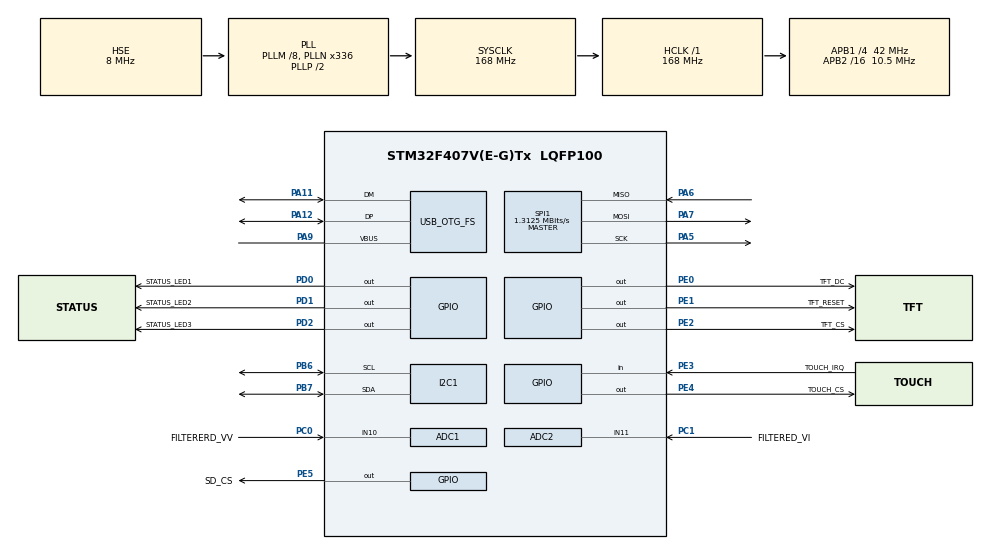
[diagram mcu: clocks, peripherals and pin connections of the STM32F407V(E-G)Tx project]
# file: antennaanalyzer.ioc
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ADC1.Channel-0\#ChannelRegularConversion=ADC_CHANNEL_10
ADC1.ClockPrescaler=ADC_CLOCK_SYNC_PCLK_DIV8
ADC1.ContinuousConvMode=ENABLE
ADC1.DMAContinuousRequests=ENABLE
ADC1.EOCSelection=ADC_EOC_SEQ_CONV
ADC1.Mode=ADC_DUALMODE_REGSIMULT
ADC1.NbrOfConversionFlag=1
ADC1.Rank-0\#ChannelRegularConversion=1
ADC1.SamplingTime-0\#ChannelRegularConversion=ADC_SAMPLETIME_3CYCLES
ADC1.ScanConvMode=ENABLE
ADC1.master=1
ADC2.Channel-0\#ChannelRegularConversion=ADC_CHANNEL_11
ADC2.ClockPrescaler=ADC_CLOCK_SYNC_PCLK_DIV8
ADC2.ContinuousConvMode=ENABLE
ADC2.DMAAccessMode=ADC_DMAACCESSMODE_2
ADC2.DMAContinuousRequests=ENABLE
ADC2.EOCSelection=ADC_EOC_SEQ_CONV
ADC2.Mode=ADC_DUALMODE_REGSIMULT
ADC2.NbrOfConversion=1
ADC2.NbrOfConversionFlag=1
ADC2.Rank-0\#ChannelRegularConversion=1
ADC2.SamplingTime-0\#ChannelRegularConversion=ADC_SAMPLETIME_3CYCLES
ADC2.ScanConvMode=ENABLE
Dma.ADC1.0.Direction=DMA_PERIPH_TO_MEMORY
Dma.ADC1.0.FIFOMode=DMA_FIFOMODE_DISABLE
Dma.ADC1.0.Instance=DMA2_Stream0
Dma.ADC1.0.MemDataAlignment=DMA_MDATAALIGN_WORD
Dma.ADC1.0.MemInc=DMA_MINC_ENABLE
Dma.ADC1.0.Mode=DMA_CIRCULAR
Dma.ADC1.0.PeriphDataAlignment=DMA_PDATAALIGN_WORD
Dma.ADC1.0.PeriphInc=DMA_PINC_DISABLE
Dma.ADC1.0.Priority=DMA_PRIORITY_LOW
Dma.Request0=ADC1
Mcu.Family=STM32F4
Mcu.Name=STM32F407V(E-G)Tx
Mcu.Package=LQFP100
NVIC.DMA2_Stream0_IRQn=true\:0\:0\:false\:false\:true\:false
NVIC.OTG_FS_IRQn=true\:0\:0\:false\:false\:true\:false
NVIC.PriorityGroup=NVIC_PRIORITYGROUP_4
PA11.Mode=Device_Only
PA11.Signal=USB_OTG_FS_DM
PA12.Mode=Device_Only
PA12.Signal=USB_OTG_FS_DP
PA5.Mode=Full_Duplex_Master
PA5.Signal=SPI1_SCK
PA6.Mode=Full_Duplex_Master
PA6.Signal=SPI1_MISO
PA7.Mode=Full_Duplex_Master
PA7.Signal=SPI1_MOSI
PA9.Mode=Activate_VBUS
PA9.Signal=USB_OTG_FS_VBUS
PB6.Mode=I2C
PB6.Signal=I2C1_SCL
PB7.Mode=I2C
PB7.Signal=I2C1_SDA
PC0.GPIO_Label=FILTERERD_VV
PC0.Signal=ADCx_IN10
PC1.GPIO_Label=FILTERED_VI
PC1.Signal=ADCx_IN11
PD0.GPIO_Label=STATUS_LED1
PD0.GPIO_ModeDefaultOutputPP=GPIO_MODE_OUTPUT_PP
PD0.GPIO_PuPd=GPIO_PULLUP
PD0.GPIO_Speed=GPIO_SPEED_FREQ_HIGH
PD0.PinState=GPIO_PIN_SET
PD0.Signal=GPIO_Output
PD1.GPIO_Label=STATUS_LED2
PD1.GPIO_PuPd=GPIO_PULLUP
PD1.GPIO_Speed=GPIO_SPEED_FREQ_HIGH
PD1.Signal=GPIO_Output
PD2.GPIO_Label=STATUS_LED3
PD2.GPIO_PuPd=GPIO_PULLUP
PD2.GPIO_Speed=GPIO_SPEED_FREQ_HIGH
PD2.PinState=GPIO_PIN_RESET
PD2.Signal=GPIO_Output
PE0.GPIO_Label=TFT_DC
PE0.GPIO_Speed=GPIO_SPEED_FREQ_VERY_HIGH
PE0.Signal=GPIO_Output
PE1.GPIO_Label=TFT_RESET
PE1.GPIO_Speed=GPIO_SPEED_FREQ_VERY_HIGH
PE1.Signal=GPIO_Output
PE2.GPIO_Label=TFT_CS
PE2.GPIO_Speed=GPIO_SPEED_FREQ_VERY_HIGH
PE2.Signal=GPIO_Output
PE3.GPIO_Label=TOUCH_IRQ
PE3.Signal=GPIO_Input
PE4.GPIO_Label=TOUCH_CS
PE4.GPIO_PuPd=GPIO_NOPULL
PE4.GPIO_Speed=GPIO_SPEED_FREQ_VERY_HIGH
PE4.Signal=GPIO_Output
PE5.GPIO_Label=SD_CS
PE5.GPIO_Speed=GPIO_SPEED_FREQ_VERY_HIGH
PE5.Signal=GPIO_Output
PH0-OSC_IN.Mode=HSE-External-Oscillator
PH0-OSC_IN.Signal=RCC_OSC_IN
PH1-OSC_OUT.Mode=HSE-External-Oscillator
PH1-OSC_OUT.Signal=RCC_OSC_OUT
ProjectManager.HeapSize=0x200
ProjectManager.StackSize=0x400
ProjectManager.TargetToolchain=Other Toolchains (GPDSC)
RCC.48MHZClocksFreq_Value=48000000
RCC.AHBFreq_Value=168000000
RCC.APB1CLKDivider=RCC_HCLK_DIV4
RCC.APB1Freq_Value=42000000
RCC.APB1TimFreq_Value=84000000
RCC.APB2CLKDivider=RCC_HCLK_DIV16
RCC.APB2Freq_Value=10500000
RCC.APB2TimFreq_Value=21000000
RCC.CortexFreq_Value=168000000
RCC.DATA_CACHE_ENABLE=1
RCC.HCLKFreq_Value=168000000
RCC.HSE_VALUE=8000000
RCC.HSI_VALUE=16000000
RCC.LSE_VALUE=32768
RCC.PLLM=8
RCC.PLLN=336
RCC.PLLQ=7
RCC.SYSCLKFreq_VALUE=168000000
RCC.SYSCLKSource=RCC_SYSCLKSOURCE_PLLCLK
RCC.VCOOutputFreq_Value=336000000
SH.ADCx_IN10.0=ADC1_IN10,IN10
SH.ADCx_IN11.0=ADC2_IN11,IN11
SPI1.BaudRatePrescaler=SPI_BAUDRATEPRESCALER_8
SPI1.CalculateBaudRate=1.3125 MBits/s
SPI1.Direction=SPI_DIRECTION_2LINES
SPI1.Mode=SPI_MODE_MASTER
SPI1.VirtualType=VM_MASTER
USB_DEVICE.CLASS_NAME_FS=CDC
USB_DEVICE.VirtualMode-CDC_FS=Cdc
USB_DEVICE.VirtualModeFS=Cdc_FS
USB_OTG_FS.VirtualMode=Device_Only
VP_CRC_VS_CRC.Mode=CRC_Activate
VP_USB_DEVICE_VS_USB_DEVICE_CDC_FS.Mode=CDC_FS
board=custom

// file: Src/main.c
/* USER CODE BEGIN Header */
/**
  ******************************************************************************
  * @file           : main.c
  * @brief          : Main program body
  ******************************************************************************
  * This notice applies to any and all portions of this file
  * that are not between comment pairs USER CODE BEGIN and
  * USER CODE END. Other portions of this file, whether
  * inserted by the user or by software development tools
  * are owned by their respective copyright owners.
  *
  * Copyright (c) 2018 STMicroelectronics International N.V.
  * All rights reserved.
  *
  * Redistribution and use in source and binary forms, with or without
  * modification, are permitted, provided that the following conditions are met:
  *
  * 1. Redistribution of source code must retain the above copyright notice,
  *    this list of conditions and the following disclaimer.
  * 2. Redistributions in binary form must reproduce the above copyright notice,
  *    this list of conditions and the following disclaimer in the documentation
  *    and/or other materials provided with the distribution.
  * 3. Neither the name of STMicroelectronics nor the names of other
  *    contributors to this software may be used to endorse or promote products
  *    derived from this software without specific written permission.
  * 4. This software, including modifications and/or derivative works of this
  *    software, must execute solely and exclusively on microcontroller or
  *    microprocessor devices manufactured by or for STMicroelectronics.
  * 5. Redistribution and use of this software other than as permitted under
  *    this license is void and will automatically terminate your rights under
  *    this license.
  *
  * THIS SOFTWARE IS PROVIDED BY STMICROELECTRONICS AND CONTRIBUTORS "AS IS"
  * AND ANY EXPRESS, IMPLIED OR STATUTORY WARRANTIES, INCLUDING, BUT NOT
  * LIMITED TO, THE IMPLIED WARRANTIES OF MERCHANTABILITY, FITNESS FOR A
  * PARTICULAR PURPOSE AND NON-INFRINGEMENT OF THIRD PARTY INTELLECTUAL PROPERTY
  * RIGHTS ARE DISCLAIMED TO THE FULLEST EXTENT PERMITTED BY LAW. IN NO EVENT
  * SHALL STMICROELECTRONICS OR CONTRIBUTORS BE LIABLE FOR ANY DIRECT, INDIRECT,
  * INCIDENTAL, SPECIAL, EXEMPLARY, OR CONSEQUENTIAL DAMAGES (INCLUDING, BUT NOT
  * LIMITED TO, PROCUREMENT OF SUBSTITUTE GOODS OR SERVICES; LOSS OF USE, DATA,
  * OR PROFITS; OR BUSINESS INTERRUPTION) HOWEVER CAUSED AND ON ANY THEORY OF
  * LIABILITY, WHETHER IN CONTRACT, STRICT LIABILITY, OR TORT (INCLUDING
  * NEGLIGENCE OR OTHERWISE) ARISING IN ANY WAY OUT OF THE USE OF THIS SOFTWARE,
  * EVEN IF ADVISED OF THE POSSIBILITY OF SUCH DAMAGE.
  *
  ******************************************************************************
  */
/* USER CODE END Header */

#include "main.h"
#include "usb_device.h"

/* USER CODE BEGIN PD */
int real_main();
/* USER CODE END PD */

ADC_HandleTypeDef hadc1;
ADC_HandleTypeDef hadc2;
DMA_HandleTypeDef hdma_adc1;

CRC_HandleTypeDef hcrc;

I2C_HandleTypeDef hi2c1;

SPI_HandleTypeDef hspi1;

void SystemClock_Config(void);
static void MX_GPIO_Init(void);
static void MX_DMA_Init(void);
static void MX_SPI1_Init(void);
static void MX_ADC1_Init(void);
static void MX_ADC2_Init(void);
static void MX_I2C1_Init(void);
static void MX_CRC_Init(void);

/* USER CODE BEGIN 0 */

void MX_SPI1_ReInit(uint32_t baudrate_prescalar)
{

  /* USER CODE BEGIN SPI1_Init 0 */

  /* USER CODE END SPI1_Init 0 */

  /* USER CODE BEGIN SPI1_Init 1 */

  /* USER CODE END SPI1_Init 1 */
  /* SPI1 parameter configuration*/
  hspi1.Instance = SPI1;
  hspi1.Init.Mode = SPI_MODE_MASTER;
  hspi1.Init.Direction = SPI_DIRECTION_2LINES;
  hspi1.Init.DataSize = SPI_DATASIZE_8BIT;
  hspi1.Init.CLKPolarity = SPI_POLARITY_LOW;
  hspi1.Init.CLKPhase = SPI_PHASE_1EDGE;
  hspi1.Init.NSS = SPI_NSS_SOFT;
  hspi1.Init.BaudRatePrescaler = baudrate_prescalar;
  hspi1.Init.FirstBit = SPI_FIRSTBIT_MSB;
  hspi1.Init.TIMode = SPI_TIMODE_DISABLE;
  hspi1.Init.CRCCalculation = SPI_CRCCALCULATION_DISABLE;
  hspi1.Init.CRCPolynomial = 10;
  if (HAL_SPI_Init(&hspi1) != HAL_OK)
  {
    Error_Handler();
  }
  /* USER CODE BEGIN SPI1_Init 2 */

  /* USER CODE END SPI1_Init 2 */

}

/* USER CODE END 0 */

int main(void)
{

  /* MCU Configuration--------------------------------------------------------*/

  /* Reset of all peripherals, Initializes the Flash interface and the Systick. */
  HAL_Init();

  /* Configure the system clock */
  SystemClock_Config();

  /* Initialize all configured peripherals */
  MX_GPIO_Init();
  MX_DMA_Init();
  MX_SPI1_Init();
  MX_USB_DEVICE_Init();
  MX_ADC1_Init();
  MX_ADC2_Init();
  MX_I2C1_Init();
  MX_CRC_Init();
  /* USER CODE BEGIN 2 */
  real_main();
  /* USER CODE END 2 */

  /* Infinite loop */
  while (1)
  {

  }
}

void SystemClock_Config(void)
{
  RCC_OscInitTypeDef RCC_OscInitStruct = {0};
  RCC_ClkInitTypeDef RCC_ClkInitStruct = {0};

  /**Configure the main internal regulator output voltage
  */
  __HAL_RCC_PWR_CLK_ENABLE();
  __HAL_PWR_VOLTAGESCALING_CONFIG(PWR_REGULATOR_VOLTAGE_SCALE1);
  /**Initializes the CPU, AHB and APB busses clocks
  */
  RCC_OscInitStruct.OscillatorType = RCC_OSCILLATORTYPE_HSE;
  RCC_OscInitStruct.HSEState = RCC_HSE_ON;
  RCC_OscInitStruct.PLL.PLLState = RCC_PLL_ON;
  RCC_OscInitStruct.PLL.PLLSource = RCC_PLLSOURCE_HSE;
  RCC_OscInitStruct.PLL.PLLM = 8;
  RCC_OscInitStruct.PLL.PLLN = 336;
  RCC_OscInitStruct.PLL.PLLP = RCC_PLLP_DIV2;
  RCC_OscInitStruct.PLL.PLLQ = 7;
  if (HAL_RCC_OscConfig(&RCC_OscInitStruct) != HAL_OK)
  {
    Error_Handler();
  }
  /**Initializes the CPU, AHB and APB busses clocks
  */
  RCC_ClkInitStruct.ClockType = RCC_CLOCKTYPE_HCLK|RCC_CLOCKTYPE_SYSCLK
                              |RCC_CLOCKTYPE_PCLK1|RCC_CLOCKTYPE_PCLK2;
  RCC_ClkInitStruct.SYSCLKSource = RCC_SYSCLKSOURCE_PLLCLK;
  RCC_ClkInitStruct.AHBCLKDivider = RCC_SYSCLK_DIV1;
  RCC_ClkInitStruct.APB1CLKDivider = RCC_HCLK_DIV4;
  RCC_ClkInitStruct.APB2CLKDivider = RCC_HCLK_DIV16;

  if (HAL_RCC_ClockConfig(&RCC_ClkInitStruct, FLASH_LATENCY_5) != HAL_OK)
  {
    Error_Handler();
  }
}

static void MX_ADC1_Init(void)
{

  ADC_MultiModeTypeDef multimode = {0};
  ADC_ChannelConfTypeDef sConfig = {0};

  /**Configure the global features of the ADC (Clock, Resolution, Data Alignment and number of conversion)
  */
  hadc1.Instance = ADC1;
  hadc1.Init.ClockPrescaler = ADC_CLOCK_SYNC_PCLK_DIV8;
  hadc1.Init.Resolution = ADC_RESOLUTION_12B;
  hadc1.Init.ScanConvMode = ENABLE;
  hadc1.Init.ContinuousConvMode = ENABLE;
  hadc1.Init.DiscontinuousConvMode = DISABLE;
  hadc1.Init.ExternalTrigConvEdge = ADC_EXTERNALTRIGCONVEDGE_NONE;
  hadc1.Init.ExternalTrigConv = ADC_SOFTWARE_START;
  hadc1.Init.DataAlign = ADC_DATAALIGN_RIGHT;
  hadc1.Init.NbrOfConversion = 1;
  hadc1.Init.DMAContinuousRequests = ENABLE;
  hadc1.Init.EOCSelection = ADC_EOC_SEQ_CONV;
  if (HAL_ADC_Init(&hadc1) != HAL_OK)
  {
    Error_Handler();
  }
  /**Configure the ADC multi-mode
  */
  multimode.Mode = ADC_DUALMODE_REGSIMULT;
  multimode.DMAAccessMode = ADC_DMAACCESSMODE_2;
  multimode.TwoSamplingDelay = ADC_TWOSAMPLINGDELAY_5CYCLES;
  if (HAL_ADCEx_MultiModeConfigChannel(&hadc1, &multimode) != HAL_OK)
  {
    Error_Handler();
  }
  /**Configure for the selected ADC regular channel its corresponding rank in the sequencer and its sample time.
  */
  sConfig.Channel = ADC_CHANNEL_10;
  sConfig.Rank = 1;
  sConfig.SamplingTime = ADC_SAMPLETIME_3CYCLES;
  if (HAL_ADC_ConfigChannel(&hadc1, &sConfig) != HAL_OK)
  {
    Error_Handler();
  }

}

static void MX_ADC2_Init(void)
{

  ADC_ChannelConfTypeDef sConfig = {0};

  /**Configure the global features of the ADC (Clock, Resolution, Data Alignment and number of conversion)
  */
  hadc2.Instance = ADC2;
  hadc2.Init.ClockPrescaler = ADC_CLOCK_SYNC_PCLK_DIV8;
  hadc2.Init.Resolution = ADC_RESOLUTION_12B;
  hadc2.Init.ScanConvMode = ENABLE;
  hadc2.Init.ContinuousConvMode = ENABLE;
  hadc2.Init.DiscontinuousConvMode = DISABLE;
  hadc2.Init.DataAlign = ADC_DATAALIGN_RIGHT;
  hadc2.Init.NbrOfConversion = 1;
  hadc2.Init.DMAContinuousRequests = ENABLE;
  hadc2.Init.EOCSelection = ADC_EOC_SEQ_CONV;
  if (HAL_ADC_Init(&hadc2) != HAL_OK)
  {
    Error_Handler();
  }
  /**Configure for the selected ADC regular channel its corresponding rank in the sequencer and its sample time.
  */
  sConfig.Channel = ADC_CHANNEL_11;
  sConfig.Rank = 1;
  sConfig.SamplingTime = ADC_SAMPLETIME_3CYCLES;
  if (HAL_ADC_ConfigChannel(&hadc2, &sConfig) != HAL_OK)
  {
    Error_Handler();
  }

}

static void MX_CRC_Init(void)
{

  hcrc.Instance = CRC;
  if (HAL_CRC_Init(&hcrc) != HAL_OK)
  {
    Error_Handler();
  }

}

static void MX_I2C1_Init(void)
{

  hi2c1.Instance = I2C1;
  hi2c1.Init.ClockSpeed = 100000;
  hi2c1.Init.DutyCycle = I2C_DUTYCYCLE_2;
  hi2c1.Init.OwnAddress1 = 0;
  hi2c1.Init.AddressingMode = I2C_ADDRESSINGMODE_7BIT;
  hi2c1.Init.DualAddressMode = I2C_DUALADDRESS_DISABLE;
  hi2c1.Init.OwnAddress2 = 0;
  hi2c1.Init.GeneralCallMode = I2C_GENERALCALL_DISABLE;
  hi2c1.Init.NoStretchMode = I2C_NOSTRETCH_DISABLE;
  if (HAL_I2C_Init(&hi2c1) != HAL_OK)
  {
    Error_Handler();
  }

}

static void MX_SPI1_Init(void)
{

  /* SPI1 parameter configuration*/
  hspi1.Instance = SPI1;
  hspi1.Init.Mode = SPI_MODE_MASTER;
  hspi1.Init.Direction = SPI_DIRECTION_2LINES;
  hspi1.Init.DataSize = SPI_DATASIZE_8BIT;
  hspi1.Init.CLKPolarity = SPI_POLARITY_LOW;
  hspi1.Init.CLKPhase = SPI_PHASE_1EDGE;
  hspi1.Init.NSS = SPI_NSS_SOFT;
  hspi1.Init.BaudRatePrescaler = SPI_BAUDRATEPRESCALER_8;
  hspi1.Init.FirstBit = SPI_FIRSTBIT_MSB;
  hspi1.Init.TIMode = SPI_TIMODE_DISABLE;
  hspi1.Init.CRCCalculation = SPI_CRCCALCULATION_DISABLE;
  hspi1.Init.CRCPolynomial = 10;
  if (HAL_SPI_Init(&hspi1) != HAL_OK)
  {
    Error_Handler();
  }

}

static void MX_DMA_Init(void)
{
  /* DMA controller clock enable */
  __HAL_RCC_DMA2_CLK_ENABLE();

  /* DMA interrupt init */
  /* DMA2_Stream0_IRQn interrupt configuration */
  HAL_NVIC_SetPriority(DMA2_Stream0_IRQn, 0, 0);
  HAL_NVIC_EnableIRQ(DMA2_Stream0_IRQn);

}

static void MX_GPIO_Init(void)
{
  GPIO_InitTypeDef GPIO_InitStruct = {0};

  /* GPIO Ports Clock Enable */
  __HAL_RCC_GPIOE_CLK_ENABLE();
  __HAL_RCC_GPIOH_CLK_ENABLE();
  __HAL_RCC_GPIOC_CLK_ENABLE();
  __HAL_RCC_GPIOA_CLK_ENABLE();
  __HAL_RCC_GPIOD_CLK_ENABLE();
  __HAL_RCC_GPIOB_CLK_ENABLE();

  /*Configure GPIO pin Output Level */
  HAL_GPIO_WritePin(GPIOE, TFT_CS_Pin|TOUCH_CS_Pin|SD_CS_Pin|TFT_DC_Pin
                          |TFT_RESET_Pin, GPIO_PIN_RESET);

  /*Configure GPIO pin Output Level */
  HAL_GPIO_WritePin(STATUS_LED1_GPIO_Port, STATUS_LED1_Pin, GPIO_PIN_SET);

  /*Configure GPIO pin Output Level */
  HAL_GPIO_WritePin(GPIOD, STATUS_LED2_Pin|STATUS_LED3_Pin, GPIO_PIN_RESET);

  /*Configure GPIO pins : TFT_CS_Pin TOUCH_CS_Pin SD_CS_Pin TFT_DC_Pin
                           TFT_RESET_Pin */
  GPIO_InitStruct.Pin = TFT_CS_Pin|TOUCH_CS_Pin|SD_CS_Pin|TFT_DC_Pin
                          |TFT_RESET_Pin;
  GPIO_InitStruct.Mode = GPIO_MODE_OUTPUT_PP;
  GPIO_InitStruct.Pull = GPIO_NOPULL;
  GPIO_InitStruct.Speed = GPIO_SPEED_FREQ_VERY_HIGH;
  HAL_GPIO_Init(GPIOE, &GPIO_InitStruct);

  /*Configure GPIO pin : TOUCH_IRQ_Pin */
  GPIO_InitStruct.Pin = TOUCH_IRQ_Pin;
  GPIO_InitStruct.Mode = GPIO_MODE_INPUT;
  GPIO_InitStruct.Pull = GPIO_NOPULL;
  HAL_GPIO_Init(TOUCH_IRQ_GPIO_Port, &GPIO_InitStruct);

  /*Configure GPIO pins : STATUS_LED1_Pin STATUS_LED2_Pin STATUS_LED3_Pin */
  GPIO_InitStruct.Pin = STATUS_LED1_Pin|STATUS_LED2_Pin|STATUS_LED3_Pin;
  GPIO_InitStruct.Mode = GPIO_MODE_OUTPUT_PP;
  GPIO_InitStruct.Pull = GPIO_PULLUP;
  GPIO_InitStruct.Speed = GPIO_SPEED_FREQ_HIGH;
  HAL_GPIO_Init(GPIOD, &GPIO_InitStruct);

}

void Error_Handler(void)
{
}

/************************ (C) COPYRIGHT STMicroelectronics *****END OF FILE****/
